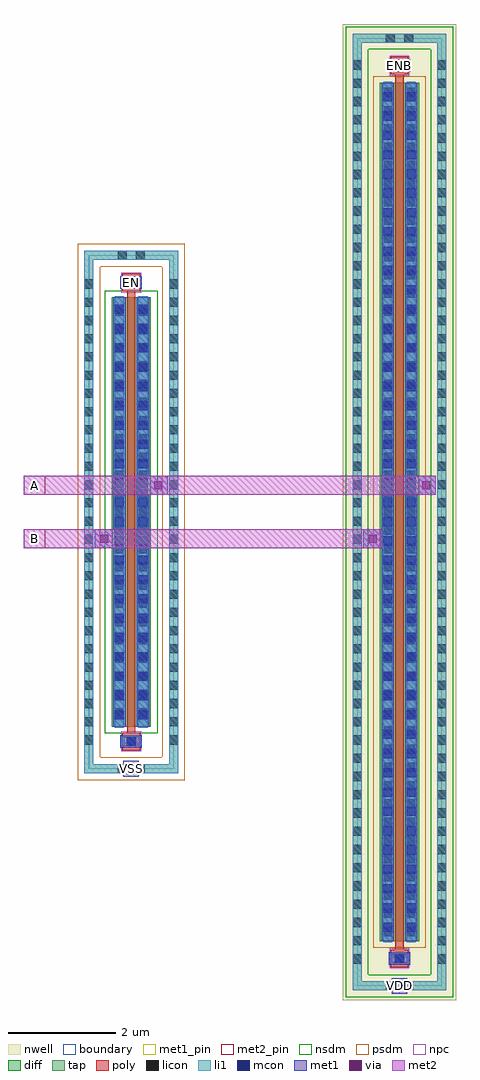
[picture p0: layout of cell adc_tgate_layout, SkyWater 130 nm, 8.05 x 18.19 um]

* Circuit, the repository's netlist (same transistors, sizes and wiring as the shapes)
* NGSPICE file created from adc_tgate_layout.ext - technology: sky130A

.subckt tg_nfet8 B D S G
X0 S G D B sky130_fd_pr__nfet_01v8 ad=2.32 pd=16.58 as=2.32 ps=16.58 w=8 l=0.15
.ends

.subckt tg_pfet16 B D S G
X0 S G D B sky130_fd_pr__pfet_01v8 ad=4.64 pd=32.58 as=4.64 ps=32.58 w=16 l=0.15
.ends

.subckt adc_tgate_layout A B EN ENB VDD VSS
XXN VSS B A EN tg_nfet8
XXP VDD B A ENB tg_pfet16
.ends

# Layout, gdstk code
import gdstk
lib = gdstk.Library(unit=1e-6, precision=1e-09)
def R(c, l, rs):  # rectangles x0, y0, x1, y1
    for r in rs: c.add(gdstk.rectangle(r[:2], r[2:], *l))
def A(c, l, x, y, w, h, nx, ny, dx, dy):  # array of equal rectangles
    R(c, l, [(x+i*dx, y+j*dy, x+i*dx+w, y+j*dy+h) for i in range(nx) for j in range(ny)])
nwell = (64, 20)
diff = (65, 20)
tap = (65, 44)
poly = (66, 20)
licon = (66, 44)
li1 = (67, 20)
mcon = (67, 44)
met1_pin = (68, 16)
met1 = (68, 20)
via = (68, 44)
met2_pin = (69, 16)
met2 = (69, 20)
nsdm = (93, 44)
psdm = (94, 20)
npc = (95, 20)
boundary = (235, 4)

tg_pfet16 = lib.new_cell('tg_pfet16')
R(tg_pfet16, nwell, [(-1.055,-9.095,1.055,9.095)])
R(tg_pfet16, diff, [(-0.365,-8,0.365,8)])
R(tg_pfet16, tap, [(-0.875,-8.915,0.875,-8.745), (-0.875,-8.745,-0.705,8.745), (0.705,-8.745,0.875,8.745), (-0.875,8.745,0.875,8.915)])
R(tg_pfet16, poly, [(-0.165,-8.485,0.165,-8.155), (-0.075,-8.155,0.075,8.155), (-0.165,8.155,0.165,8.485)])
A(tg_pfet16, licon, -0.875, -8.415, 0.17, 0.17, 1, 50, 0, 0.34)
A(tg_pfet16, licon, 0.705, -8.415, 0.17, 0.17, 1, 50, 0, 0.34)
A(tg_pfet16, licon, -0.305, -7.905, 0.17, 0.17, 1, 47, 0, 0.34)
A(tg_pfet16, licon, 0.135, -7.905, 0.17, 0.17, 1, 47, 0, 0.34)
R(tg_pfet16, licon, [(-0.255,-8.915,-0.085,-8.745), (0.085,-8.915,0.255,-8.745), (-0.085,-8.405,0.085,-8.235), (-0.085,8.235,0.085,8.405), (-0.255,8.745,-0.085,8.915), (0.085,8.745,0.255,8.915)])
R(tg_pfet16, li1, [(-0.875,-8.915,0.875,-8.745), (-0.875,-8.745,-0.705,8.745), (0.705,-8.745,0.875,8.745), (-0.165,-8.405,0.165,-8.235), (-0.305,-8.02,-0.135,8.02), (0.135,-8.02,0.305,8.02), (-0.165,8.235,0.165,8.405), (-0.875,8.745,0.875,8.915)])
A(tg_pfet16, mcon, -0.305, -7.825, 0.17, 0.17, 1, 44, 0, 0.36)
A(tg_pfet16, mcon, 0.135, -7.825, 0.17, 0.17, 1, 44, 0, 0.36)
R(tg_pfet16, mcon, [(-0.085,-8.405,0.085,-8.235), (-0.085,8.235,0.085,8.405)])
R(tg_pfet16, met1, [(-0.145,-8.435,0.145,-8.205), (-0.335,-8,-0.105,8), (0.105,-8,0.335,8), (-0.145,8.205,0.145,8.435)])
R(tg_pfet16, nsdm, [(-1,-9.04,1,-8.62), (-1,-8.62,-0.58,8.62), (0.58,-8.62,1,8.62), (-1,8.62,1,9.04)])
R(tg_pfet16, psdm, [(-0.49,-8.125,0.49,8.125)])
R(tg_pfet16, npc, [(-0.185,-8.505,0.185,-8.135), (-0.185,8.135,0.185,8.505)])
R(tg_pfet16, boundary, [(-0.79,-8.83,0.79,8.83)])
tg_pfet16.add(gdstk.Label('B', (0,-8.83), layer=67, texttype=5))
tg_pfet16.add(gdstk.Label('D', (-0.22,0), layer=67, texttype=5))
tg_pfet16.add(gdstk.Label('S', (0.22,0), layer=67, texttype=5))
tg_pfet16.add(gdstk.Label('G', (0,8.32), layer=67, texttype=5))

tg_nfet8 = lib.new_cell('tg_nfet8')
R(tg_nfet8, diff, [(-0.365,-4,0.365,4)])
R(tg_nfet8, tap, [(-0.875,-4.87,0.875,-4.7), (-0.875,-4.7,-0.705,4.7), (0.705,-4.7,0.875,4.7), (-0.875,4.7,0.875,4.87)])
R(tg_nfet8, poly, [(-0.165,-4.44,0.165,-4.11), (-0.075,-4.11,0.075,4.11), (-0.165,4.11,0.165,4.44)])
A(tg_nfet8, licon, -0.875, -4.335, 0.17, 0.17, 1, 26, 0, 0.34)
A(tg_nfet8, licon, 0.705, -4.335, 0.17, 0.17, 1, 26, 0, 0.34)
A(tg_nfet8, licon, -0.305, -3.825, 0.17, 0.17, 1, 23, 0, 0.34)
A(tg_nfet8, licon, 0.135, -3.825, 0.17, 0.17, 1, 23, 0, 0.34)
R(tg_nfet8, licon, [(-0.255,-4.87,-0.085,-4.7), (0.085,-4.87,0.255,-4.7), (-0.085,-4.36,0.085,-4.19), (-0.085,4.19,0.085,4.36), (-0.255,4.7,-0.085,4.87), (0.085,4.7,0.255,4.87)])
R(tg_nfet8, li1, [(-0.875,-4.87,0.875,-4.7), (-0.875,-4.7,-0.705,4.7), (0.705,-4.7,0.875,4.7), (-0.165,-4.36,0.165,-4.19), (-0.305,-4.02,-0.135,4.02), (0.135,-4.02,0.305,4.02), (-0.165,4.19,0.165,4.36), (-0.875,4.7,0.875,4.87)])
A(tg_nfet8, mcon, -0.305, -3.865, 0.17, 0.17, 1, 22, 0, 0.36)
A(tg_nfet8, mcon, 0.135, -3.865, 0.17, 0.17, 1, 22, 0, 0.36)
R(tg_nfet8, mcon, [(-0.085,-4.36,0.085,-4.19), (-0.085,4.19,0.085,4.36)])
R(tg_nfet8, met1, [(-0.145,-4.39,0.145,-4.16), (-0.335,-4,-0.105,4), (0.105,-4,0.335,4), (-0.145,4.16,0.145,4.39)])
R(tg_nfet8, nsdm, [(-0.49,-4.125,0.49,4.125)])
R(tg_nfet8, psdm, [(-1,-4.995,1,-4.575), (-1,-4.575,-0.58,4.575), (0.58,-4.575,1,4.575), (-1,4.575,1,4.995)])
R(tg_nfet8, npc, [(-0.185,-4.46,0.185,-4.09), (-0.185,4.09,0.185,4.46)])
R(tg_nfet8, boundary, [(-0.79,-4.785,0.79,4.785)])
tg_nfet8.add(gdstk.Label('B', (0,-4.785), layer=67, texttype=5))
tg_nfet8.add(gdstk.Label('D', (-0.22,0), layer=67, texttype=5))
tg_nfet8.add(gdstk.Label('S', (0.22,0), layer=67, texttype=5))
tg_nfet8.add(gdstk.Label('G', (0,4.275), layer=67, texttype=5))

adc_tgate_layout = lib.new_cell('adc_tgate_layout')
R(adc_tgate_layout, li1, [(9.915,1.085,10.085,1.255), (4.915,5.13,5.085,5.3)])
R(adc_tgate_layout, mcon, [(9.915,1.085,10.085,1.255), (4.915,5.13,5.085,5.3)])
R(adc_tgate_layout, met1_pin, [(9.855,1.025,10.145,1.315), (4.855,5.07,5.145,5.36), (4.8,14.16,5.2,14.39), (9.8,18.205,10.2,18.435)])
R(adc_tgate_layout, met1, [(9.855,1.025,10.145,1.315), (9.8,1.565,10.2,1.795), (4.855,5.07,5.145,5.36), (4.8,5.61,5.2,5.84), (4.32,9.32,4.895,9.68), (9.32,9.32,9.895,9.68), (5.105,10.32,5.68,10.68), (10.105,10.32,10.68,10.68), (4.8,14.16,5.2,14.39), (9.8,18.205,10.2,18.435)])
R(adc_tgate_layout, via, [(4.425,9.425,4.575,9.575), (9.425,9.425,9.575,9.575), (5.425,10.425,5.575,10.575), (10.425,10.425,10.575,10.575)])
R(adc_tgate_layout, met2_pin, [(3,9.32,3.4,9.68), (3,10.32,3.4,10.68)])
R(adc_tgate_layout, met2, [(3,9.32,9.68,9.68), (3,10.32,10.68,10.68)])
adc_tgate_layout.add(gdstk.Reference(tg_pfet16, (10,10)))
adc_tgate_layout.add(gdstk.Reference(tg_nfet8, (5,10)))
adc_tgate_layout.add(gdstk.Label('A', (3.2,10.5), layer=69, texttype=5))
adc_tgate_layout.add(gdstk.Label('B', (3.2,9.5), layer=69, texttype=5))
adc_tgate_layout.add(gdstk.Label('EN', (5,14.275), layer=68, texttype=5))
adc_tgate_layout.add(gdstk.Label('ENB', (10,18.32), layer=68, texttype=5))
adc_tgate_layout.add(gdstk.Label('VDD', (10,1.17), layer=68, texttype=5))
adc_tgate_layout.add(gdstk.Label('VSS', (5,5.215), layer=68, texttype=5))

lib.write_gds('adc_tgate_layout.gds')
